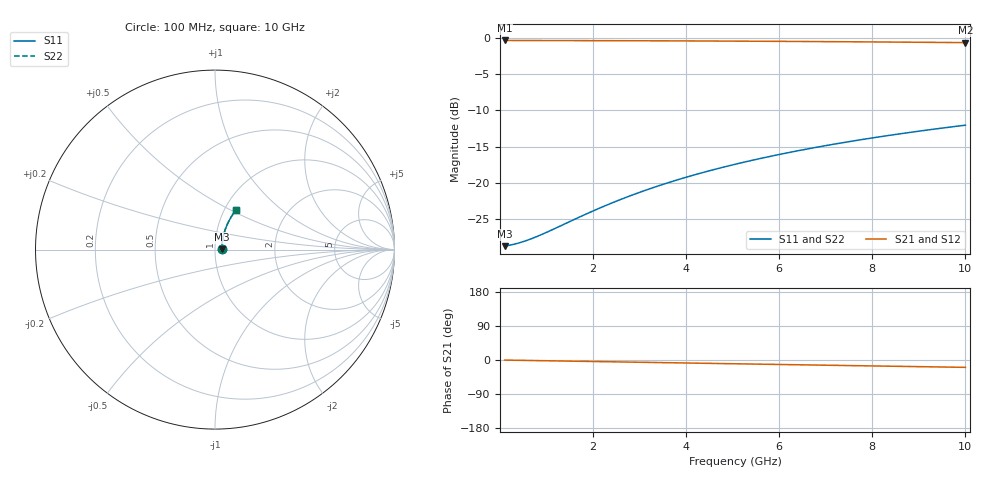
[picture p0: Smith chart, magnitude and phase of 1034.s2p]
# Hz S RI R 50.00
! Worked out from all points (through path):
!   100 points, 100 MHz to 10 GHz, reference 50 ohm
!   highest |S21| = -0.32 dB at 100 MHz (marker M1); lowest = -0.6 dB at 10 GHz (marker M2)
!   group delay of S21, straight-line fit = 5.4 ps
!   lowest |S11| = -28.7 dB at 100 MHz (marker M3), VSWR 1.08, Z = 53.8 + j0.265 ohm
!   |S11| at or under -10 dB: start of sweep to end of sweep
!   |S22| runs from -28.7 to -12.0 dB; largest |S21 - S12| = 0
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1e8  0.0364 0.00246  0.9636 -0.00334  0.9636 -0.00334  0.0364 0.00246
3e8  0.0369 0.00736  0.9631 -0.01  0.9631 -0.01  0.0369 0.00736
4e8  0.0371 0.00981  0.9629 -0.0133  0.9629 -0.0133  0.0371 0.00981
5e8  0.0373 0.0123  0.9627 -0.0167  0.9627 -0.0167  0.0373 0.0123
7e8  0.0377 0.0171  0.9623 -0.0233  0.9623 -0.0233  0.0377 0.0171
1e9  0.0384 0.0245  0.9616 -0.0333  0.9616 -0.0333  0.0384 0.0245
1.8e9  0.0407 0.0439  0.9592 -0.0598  0.9592 -0.0598  0.0407 0.0439
2.2e9  0.0422 0.0535  0.9576 -0.073  0.9576 -0.073  0.0422 0.0535
2.6e9  0.044 0.0631  0.9558 -0.0861  0.9558 -0.0861  0.044 0.0631
3e9  0.046 0.0727  0.9537 -0.0991  0.9537 -0.0991  0.046 0.0727
3.4e9  0.0482 0.0821  0.9513 -0.1121  0.9513 -0.1121  0.0482 0.0821
3.8e9  0.0507 0.0915  0.9487 -0.125  0.9487 -0.125  0.0507 0.0915
4.2e9  0.0535 0.1008  0.9458 -0.1378  0.9458 -0.1378  0.0535 0.1008
4.6e9  0.0564 0.11  0.9427 -0.1506  0.9427 -0.1506  0.0564 0.11
5.1e9  0.0605 0.1213  0.9384 -0.1663  0.9384 -0.1663  0.0605 0.1213
5.5e9  0.064 0.1302  0.9347 -0.1788  0.9347 -0.1788  0.064 0.1302
5.9e9  0.0678 0.139  0.9308 -0.1912  0.9308 -0.1912  0.0678 0.139
6.7e9  0.0759 0.1563  0.9222 -0.2155  0.9222 -0.2155  0.0759 0.1563
7.5e9  0.0849 0.1729  0.9128 -0.2392  0.9128 -0.2392  0.0849 0.1729
8.4e9  0.096 0.1909  0.9011 -0.2652  0.9011 -0.2652  0.096 0.1909
9.2e9  0.1067 0.2062  0.8899 -0.2876  0.8899 -0.2876  0.1067 0.2062
1e10  0.118 0.2207  0.8779 -0.3093  0.8779 -0.3093  0.118 0.2207
